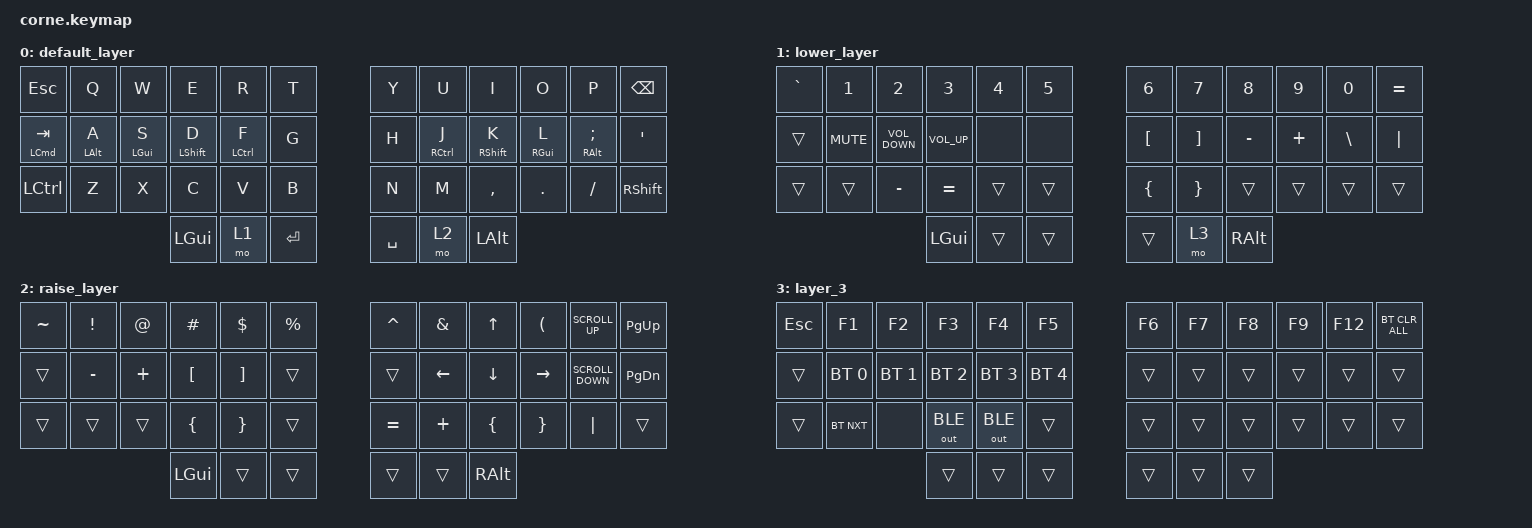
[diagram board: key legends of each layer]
/*
 * Copyright (c) 2020 The ZMK Contributors
 *
 * SPDX-License-Identifier: MIT
 */

#include <behaviors.dtsi>
#include <dt-bindings/zmk/bt.h>
#include <dt-bindings/zmk/keys.h>
#include <dt-bindings/zmk/outputs.h>

/ {
    behaviors {
        hm: homerow_mods {
            compatible = "zmk,behavior-hold-tap";
            #binding-cells = <2>;
            flavor = "tap-preferred";
            tapping-term-ms = <400>;
            quick-tap-ms = <0>;
            require-prior-idle-ms = <125>;
            bindings = <&kp>, <&kp>;
        };
    };

    kscan: kscan {
        compatible = "zmk,kscan-gpio-matrix";
        diode-direction = "col2row";
        wakeup-source;
    };

    keymap {
        compatible = "zmk,keymap";

        default_layer {
            // -----------------------------------------------------------------------------------------
            // |  TAB |  Q  |  W  |  E  |  R  |  T  |   |  Y  |  U   |  I  |  O  |  P  | BKSP |
            // | CTRL |  A  |  S  |  D  |  F  |  G  |   |  H  |  J   |  K  |  L  |  ;  |  '   |
            // | SHFT |  Z  |  X  |  C  |  V  |  B  |   |  N  |  M   |  ,  |  .  |  /  | ESC  |
            //                    | GUI | LWR | SPC |   | ENT | RSE  | ALT |

            bindings = <
&kp ESCAPE            &kp Q           &kp W           &kp E             &kp R        &kp T        &kp Y      &kp U        &kp I              &kp O            &kp P               &kp BSPC
&hm LEFT_COMMAND TAB  &hm LEFT_ALT A  &hm LEFT_GUI S  &hm LEFT_SHIFT D  &hm LCTRL F  &kp G        &kp H      &hm RCTRL J  &hm RIGHT_SHIFT K  &hm RIGHT_GUI L  &hm RIGHT_ALT SEMI  &kp SQT
&kp LEFT_CONTROL      &kp Z           &kp X           &kp C             &kp V        &kp B        &kp N      &kp M        &kp COMMA          &kp DOT          &kp FSLH            &kp RIGHT_SHIFT
                                                      &kp LGUI          &mo 1        &kp ENTER    &kp SPACE  &mo 2        &kp LEFT_ALT
            >;
        };

        lower_layer {
            // -----------------------------------------------------------------------------------------
            // |  TAB |  1  |  2  |  3  |  4  |  5  |   |  6  |  7  |  8  |  9  |  0  | BKSP |
            // | BTCLR| BT1 | BT2 | BT3 | BT4 | BT5 |   | LFT | DWN |  UP | RGT |     |      |
            // | SHFT |     |     |     |     |     |   |     |     |     |     |     |      |
            //                    | GUI |     | SPC |   | ENT |     | ALT |

            bindings = <
&kp GRAVE  &kp N1      &kp N2             &kp N3           &kp N4  &kp N5    &kp N6            &kp N7             &kp N8     &kp N9    &kp N0         &kp EQUAL
&trans     &kp K_MUTE  &kp K_VOLUME_DOWN  &kp K_VOLUME_UP  &none   &none     &kp LEFT_BRACKET  &kp RIGHT_BRACKET  &kp MINUS  &kp PLUS  &kp BACKSLASH  &kp PIPE
&trans     &trans      &kp MINUS          &kp EQUAL        &trans  &trans    &kp LEFT_BRACE    &kp RIGHT_BRACE    &trans     &trans    &trans         &trans
                                          &kp LGUI         &trans  &trans    &trans            &mo 3              &kp RALT
            >;
        };

        raise_layer {
            // -----------------------------------------------------------------------------------------
            // |  TAB |  !  |  @  |  #  |  $  |  %  |   |  ^  |  &  |  *  |  (  |  )  | BKSP |
            // | CTRL |     |     |     |     |     |   |  -  |  =  |  [  |  ]  |  \  |  `   |
            // | SHFT |     |     |     |     |     |   |  _  |  +  |  {  |  }  | "|" |  ~   |
            //                    | GUI |     | SPC |   | ENT |     | ALT |

            bindings = <
&kp TILDE  &kp EXCL   &kp AT    &kp HASH          &kp DLLR           &kp PRCNT    &kp CARET  &kp AMPS  &kp UP_ARROW  &kp LPAR   &kp K_SCROLL_UP    &kp PG_UP
&trans     &kp MINUS  &kp PLUS  &kp LEFT_BRACKET  &kp RIGHT_BRACKET  &trans       &trans     &kp LEFT  &kp DOWN      &kp RIGHT  &kp K_SCROLL_DOWN  &kp PAGE_DOWN
&trans     &trans     &trans    &kp LEFT_BRACE    &kp RIGHT_BRACE    &trans       &kp EQUAL  &kp PLUS  &kp LBRC      &kp RBRC   &kp PIPE           &trans
                                &kp LGUI          &trans             &trans       &trans     &trans    &kp RALT
            >;
        };

        layer_3 {
            bindings = <
&kp ESC  &kp F1        &kp F2        &kp F3        &kp F4        &kp F5          &kp F6  &kp F7  &kp F8  &kp F9  &kp F12  &bt BT_CLR_ALL
&trans   &bt BT_SEL 0  &bt BT_SEL 1  &bt BT_SEL 2  &bt BT_SEL 3  &bt BT_SEL 4    &trans  &trans  &trans  &trans  &trans   &trans
&trans   &bt BT_NXT    &none         &out OUT_BLE  &out OUT_BLE  &trans          &trans  &trans  &trans  &trans  &trans   &trans
                                     &trans        &trans        &trans          &trans  &trans  &trans
            >;
        };
    };
};
